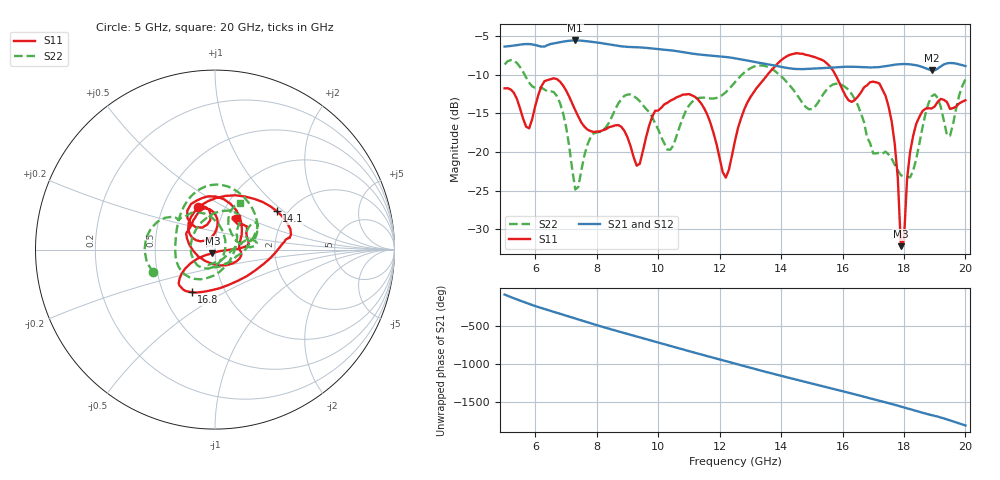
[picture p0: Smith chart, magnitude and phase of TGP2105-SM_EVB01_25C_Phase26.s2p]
! Date: Wednesday, June 05, 2013  1:50 PM
! Filename: C:\Data\Mike_Arnold\TGP2105-SM\Over_Temp\TGP2105-SM_EVB01_25C_Phase26.s2p
! Comments:
!^VDC(V):5.000
!^VDC(mA):0.072
!%Freq(GHz),S11(dB),S11(ang),S21(dB),S21(ang),S12(dB),S12(ang),S22(dB),S22(ang)
# GHz  S  DB  R  50
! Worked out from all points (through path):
!   151 points, 5 GHz to 20 GHz, reference 50 ohm
!   highest |S21| = -5.58 dB at 7.3 GHz (marker M1); lowest = -9.5 dB at 18.9 GHz (marker M2)
!   lowest |S11| = -32.2 dB at 17.9 GHz (marker M3), VSWR 1.05, Z = 48.6 - j1.96 ohm
!   |S11| at or under -10 dB: start of sweep to 13.56 GHz; 15.76 GHz to end of sweep
!   |S22| runs from -24.9 to -8.1 dB; largest |S21 - S12| = 0.0022
!   S11 on the Smith chart (normalised r, x): 5 GHz: 0.74, +0.38; 14.1 GHz: 1.75, +0.90; 16.8 GHz: 0.70, -0.36; 20 GHz: 1.19, +0.44
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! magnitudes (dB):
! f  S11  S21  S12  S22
! 5 GHz  -11.8  -6.4  -6.4  -8.7
! 5.8 GHz  -17.0  -6.0  -6.1  -11.0
! 6.7 GHz  -10.6  -5.9  -5.9  -12.8
! 7.3 GHz  -14.6  -5.6  -5.6  -24.9
! 7.5 GHz  -16.2  -5.6  -5.6  -22.3
! 9.3 GHz  -21.8  -6.5  -6.5  -13.1
! 10 GHz  -14.6  -6.7  -6.7  -17.1
! 10.4 GHz  -13.4  -6.8  -6.9  -19.7
! 11.3 GHz  -13.3  -7.4  -7.4  -13.0
! 12.2 GHz  -23.3  -7.7  -7.7  -12.3
! 12.5 GHz  -18.6  -7.9  -7.9  -11.0
! 14.1 GHz  -7.8  -9.1  -9.1  -10.6
! 15 GHz  -7.6  -9.2  -9.2  -14.5
! 16 GHz  -12.0  -9.0  -9.0  -11.4
! 16.8 GHz  -11.4  -9.1  -9.1  -18.1
! 17.5 GHz  -14.1  -8.8  -8.9  -20.3
! 17.8 GHz  -23.4  -8.7  -8.7  -22.4
! 17.9 GHz  -32.2  -8.6  -8.7  -23.0
! 18.3 GHz  -17.9  -8.7  -8.7  -22.4
! 18.9 GHz  -14.4  -9.5  -9.5  -12.8
! 19.5 GHz  -14.4  -8.5  -8.5  -17.9
! 20 GHz  -13.3  -8.9  -8.9  -10.6
